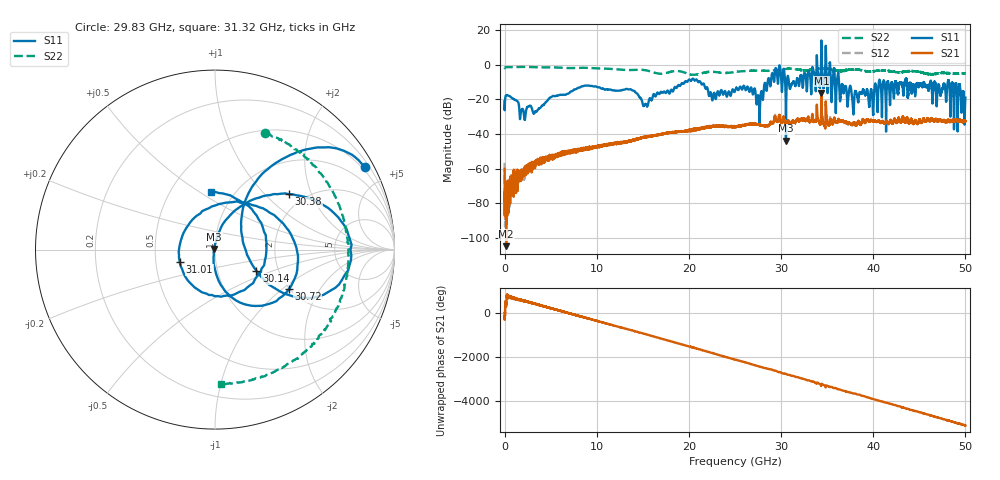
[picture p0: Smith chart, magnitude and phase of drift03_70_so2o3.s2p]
!Created with skrf (http://scikit-rf.org).
# Hz S RI R 50.0
!freq ReS11 ImS11 ReS21 ImS21 ReS12 ImS12 ReS22 ImS22
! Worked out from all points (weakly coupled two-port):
!   10001 points, 300 kHz to 50 GHz, reference 50 ohm
!   highest |S21| = -16.45 dB at 34.37 GHz (marker M1); lowest = -104.8 dB at 170.3 MHz (marker M2)
!   lowest |S11| = -43.9 dB at 30.53 GHz (marker M3), VSWR 1.01, Z = 49.5 + j0.361 ohm
!   |S11| at or under -10 dB: start of sweep to 19.55 GHz; 21.25 GHz to 28.55 GHz (7.298 GHz wide, 29.3 % of centre); 36.28 GHz to 40.61 GHz (4.332 GHz wide, 11.3 % of centre) (the widest 3 of 36)
!   |S22| runs from -5.9 to -1.3 dB; largest |S21 - S12| = 0.024
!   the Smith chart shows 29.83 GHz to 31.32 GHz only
!   S11 on the Smith chart (normalised r, x): 29.83 GHz: 0.36, +3.85; 30.14 GHz: 1.54, -0.39; 30.38 GHz: 1.67, +1.40; 30.72 GHz: 1.97, -1.12; 31.01 GHz: 0.67, -0.10; 31.32 GHz: 0.78, +0.56
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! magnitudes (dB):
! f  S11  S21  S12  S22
! 300 kHz  -21.3  -60.2  -56.7  -2.0
! 170.3 MHz  -17.7  -104.8  -75.3  -1.5
! 3.3 GHz  -27.2  -59.9  -56.9  -1.5
! 8.335 GHz  -12.6  -49.0  -49.2  -1.9
! 15.29 GHz  -22.8  -41.8  -42.1  -3.3
! 16.67 GHz  -16.5  -40.6  -40.5  -5.2
! 20.27 GHz  -9.1  -38.2  -38.0  -5.8
! 22.71 GHz  -16.4  -35.5  -35.7  -4.2
! 25 GHz  -15.3  -35.9  -35.7  -4.3
! 27.53 GHz  -17.8  -34.4  -34.4  -3.5
! 29.83 GHz  -0.4  -29.3  -28.6  -3.0
! 30.14 GHz  -11.7  -33.1  -33.6  -2.8
! 30.38 GHz  -5.8  -32.4  -32.4  -2.6
! 30.53 GHz  -43.9  -34.4  -34.1  -2.5
! 30.72 GHz  -6.6  -32.8  -32.8  -2.4
! 31.01 GHz  -13.6  -34.2  -34.2  -2.4
! 31.32 GHz  -9.9  -32.6  -32.4  -2.5
! 33.34 GHz  -7.5  -31.2  -31.3  -2.9
! 34.37 GHz  13.9  -16.4  -17.5  -2.3
! 37.87 GHz  -28.8  -33.4  -34.2  -2.8
! 41.67 GHz  -11.3  -34.1  -34.0  -3.7
! 50 GHz  -19.1  -32.7  -33.0  -5.0
